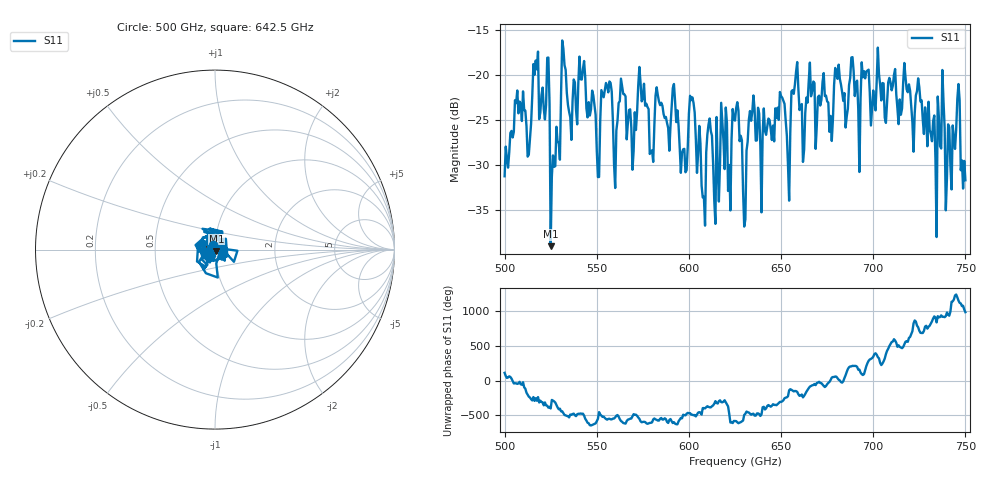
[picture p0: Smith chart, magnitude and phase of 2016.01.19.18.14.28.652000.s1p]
!Created with skrf (http://scikit-rf.org).
# GHz S RI R 50.0
!freq ReS11 ImS11
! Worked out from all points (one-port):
!   401 points, 500 GHz to 750 GHz, reference 50 ohm
!   lowest |S11| = -39.1 dB at 525 GHz (marker M1), VSWR 1.02, Z = 50.8 - j0.785 ohm
!   |S11| at or under -10 dB: start of sweep to end of sweep
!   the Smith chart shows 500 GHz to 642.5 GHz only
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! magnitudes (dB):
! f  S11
! 500 GHz  -31.3
! 506.9 GHz  -21.7
! 513.1 GHz  -28.9
! 516.9 GHz  -18.4
! 525 GHz  -39.1
! 526.2 GHz  -28.9
! 531.2 GHz  -16.1
! 541.9 GHz  -20.5
! 550.6 GHz  -31.4
! 553.8 GHz  -22.5
! 562.5 GHz  -22.9
! 593.8 GHz  -23.9
! 598.1 GHz  -30.8
! 601.9 GHz  -22.5
! 608.1 GHz  -33.5
! 611.2 GHz  -24.8
! 615 GHz  -24.7
! 625 GHz  -25.1
! 630.6 GHz  -36.1
! 634.4 GHz  -24.1
! 650.6 GHz  -22.5
! 653.8 GHz  -30.0
! 656.2 GHz  -21.7
! 687.5 GHz  -20.3
! 718.8 GHz  -21.9
! 733.1 GHz  -24.5
! 745.6 GHz  -22.6
! 750 GHz  -31.7
